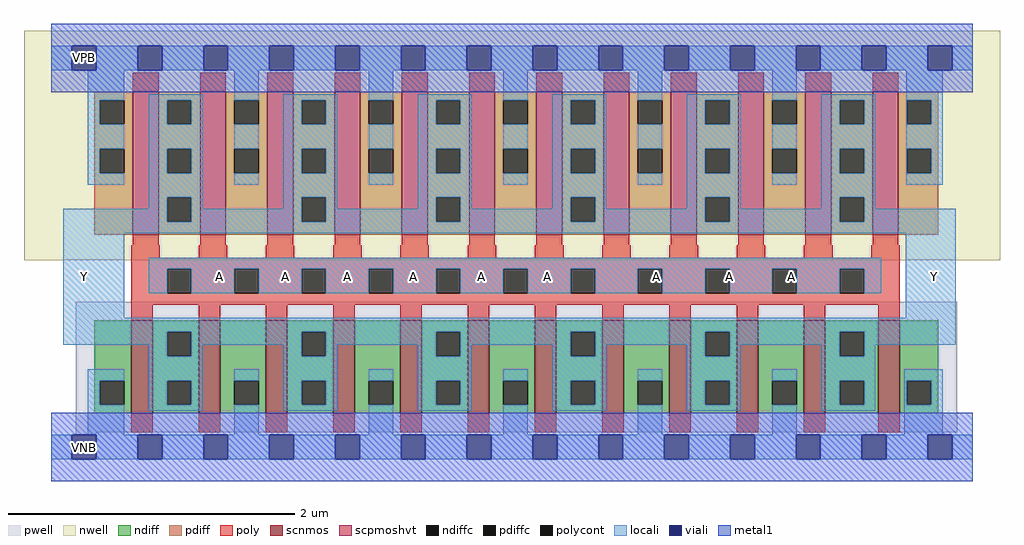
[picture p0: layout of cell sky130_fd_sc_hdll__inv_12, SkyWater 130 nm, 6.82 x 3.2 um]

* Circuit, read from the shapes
.subckt sky130_fd_sc_hdll__inv_12 A VGND VNB VPB VPWR Y
XM1 Y A VGND VNB sky130_fd_pr__nfet_01v8 w=0.65 l=0.15 m=12
XM2 Y A VPWR VPB sky130_fd_pr__pfet_01v8_hvt w=1 l=0.18 m=12
.ends

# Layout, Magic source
magic
tech sky130A
magscale 1 2
<< nwell >>
rect -38 261 1326 582
<< pwell >>
rect 34 21 1266 203
rect 34 17 63 21
rect 29 -17 63 17
<< scnmos >>
rect 112 47 142 177
rect 206 47 236 177
rect 300 47 330 177
rect 394 47 424 177
rect 488 47 518 177
rect 582 47 612 177
rect 676 47 706 177
rect 770 47 800 177
rect 864 47 894 177
rect 958 47 988 177
rect 1052 47 1082 177
rect 1156 47 1186 177
<< scpmoshvt >>
rect 114 297 150 497
rect 208 297 244 497
rect 302 297 338 497
rect 396 297 432 497
rect 490 297 526 497
rect 584 297 620 497
rect 678 297 714 497
rect 772 297 808 497
rect 866 297 902 497
rect 960 297 996 497
rect 1054 297 1090 497
rect 1148 297 1184 497
<< ndiff >>
rect 60 93 112 177
rect 60 59 68 93
rect 102 59 112 93
rect 60 47 112 59
rect 142 161 206 177
rect 142 127 162 161
rect 196 127 206 161
rect 142 93 206 127
rect 142 59 162 93
rect 196 59 206 93
rect 142 47 206 59
rect 236 93 300 177
rect 236 59 256 93
rect 290 59 300 93
rect 236 47 300 59
rect 330 161 394 177
rect 330 127 350 161
rect 384 127 394 161
rect 330 93 394 127
rect 330 59 350 93
rect 384 59 394 93
rect 330 47 394 59
rect 424 93 488 177
rect 424 59 444 93
rect 478 59 488 93
rect 424 47 488 59
rect 518 161 582 177
rect 518 127 538 161
rect 572 127 582 161
rect 518 93 582 127
rect 518 59 538 93
rect 572 59 582 93
rect 518 47 582 59
rect 612 93 676 177
rect 612 59 632 93
rect 666 59 676 93
rect 612 47 676 59
rect 706 161 770 177
rect 706 127 726 161
rect 760 127 770 161
rect 706 93 770 127
rect 706 59 726 93
rect 760 59 770 93
rect 706 47 770 59
rect 800 93 864 177
rect 800 59 820 93
rect 854 59 864 93
rect 800 47 864 59
rect 894 161 958 177
rect 894 127 914 161
rect 948 127 958 161
rect 894 93 958 127
rect 894 59 914 93
rect 948 59 958 93
rect 894 47 958 59
rect 988 93 1052 177
rect 988 59 1008 93
rect 1042 59 1052 93
rect 988 47 1052 59
rect 1082 161 1156 177
rect 1082 127 1102 161
rect 1136 127 1156 161
rect 1082 93 1156 127
rect 1082 59 1102 93
rect 1136 59 1156 93
rect 1082 47 1156 59
rect 1186 93 1240 177
rect 1186 59 1196 93
rect 1230 59 1240 93
rect 1186 47 1240 59
<< pdiff >>
rect 60 485 114 497
rect 60 451 68 485
rect 102 451 114 485
rect 60 417 114 451
rect 60 383 68 417
rect 102 383 114 417
rect 60 297 114 383
rect 150 485 208 497
rect 150 451 162 485
rect 196 451 208 485
rect 150 417 208 451
rect 150 383 162 417
rect 196 383 208 417
rect 150 349 208 383
rect 150 315 162 349
rect 196 315 208 349
rect 150 297 208 315
rect 244 485 302 497
rect 244 451 256 485
rect 290 451 302 485
rect 244 417 302 451
rect 244 383 256 417
rect 290 383 302 417
rect 244 297 302 383
rect 338 485 396 497
rect 338 451 350 485
rect 384 451 396 485
rect 338 417 396 451
rect 338 383 350 417
rect 384 383 396 417
rect 338 349 396 383
rect 338 315 350 349
rect 384 315 396 349
rect 338 297 396 315
rect 432 485 490 497
rect 432 451 444 485
rect 478 451 490 485
rect 432 417 490 451
rect 432 383 444 417
rect 478 383 490 417
rect 432 297 490 383
rect 526 485 584 497
rect 526 451 538 485
rect 572 451 584 485
rect 526 417 584 451
rect 526 383 538 417
rect 572 383 584 417
rect 526 349 584 383
rect 526 315 538 349
rect 572 315 584 349
rect 526 297 584 315
rect 620 485 678 497
rect 620 451 632 485
rect 666 451 678 485
rect 620 417 678 451
rect 620 383 632 417
rect 666 383 678 417
rect 620 297 678 383
rect 714 485 772 497
rect 714 451 726 485
rect 760 451 772 485
rect 714 417 772 451
rect 714 383 726 417
rect 760 383 772 417
rect 714 349 772 383
rect 714 315 726 349
rect 760 315 772 349
rect 714 297 772 315
rect 808 485 866 497
rect 808 451 820 485
rect 854 451 866 485
rect 808 417 866 451
rect 808 383 820 417
rect 854 383 866 417
rect 808 297 866 383
rect 902 485 960 497
rect 902 451 914 485
rect 948 451 960 485
rect 902 417 960 451
rect 902 383 914 417
rect 948 383 960 417
rect 902 349 960 383
rect 902 315 914 349
rect 948 315 960 349
rect 902 297 960 315
rect 996 485 1054 497
rect 996 451 1008 485
rect 1042 451 1054 485
rect 996 417 1054 451
rect 996 383 1008 417
rect 1042 383 1054 417
rect 996 297 1054 383
rect 1090 485 1148 497
rect 1090 451 1102 485
rect 1136 451 1148 485
rect 1090 417 1148 451
rect 1090 383 1102 417
rect 1136 383 1148 417
rect 1090 349 1148 383
rect 1090 315 1102 349
rect 1136 315 1148 349
rect 1090 297 1148 315
rect 1184 485 1240 497
rect 1184 451 1196 485
rect 1230 451 1240 485
rect 1184 417 1240 451
rect 1184 383 1196 417
rect 1230 383 1240 417
rect 1184 297 1240 383
<< ndiffc >>
rect 68 59 102 93
rect 162 127 196 161
rect 162 59 196 93
rect 256 59 290 93
rect 350 127 384 161
rect 350 59 384 93
rect 444 59 478 93
rect 538 127 572 161
rect 538 59 572 93
rect 632 59 666 93
rect 726 127 760 161
rect 726 59 760 93
rect 820 59 854 93
rect 914 127 948 161
rect 914 59 948 93
rect 1008 59 1042 93
rect 1102 127 1136 161
rect 1102 59 1136 93
rect 1196 59 1230 93
<< pdiffc >>
rect 68 451 102 485
rect 68 383 102 417
rect 162 451 196 485
rect 162 383 196 417
rect 162 315 196 349
rect 256 451 290 485
rect 256 383 290 417
rect 350 451 384 485
rect 350 383 384 417
rect 350 315 384 349
rect 444 451 478 485
rect 444 383 478 417
rect 538 451 572 485
rect 538 383 572 417
rect 538 315 572 349
rect 632 451 666 485
rect 632 383 666 417
rect 726 451 760 485
rect 726 383 760 417
rect 726 315 760 349
rect 820 451 854 485
rect 820 383 854 417
rect 914 451 948 485
rect 914 383 948 417
rect 914 315 948 349
rect 1008 451 1042 485
rect 1008 383 1042 417
rect 1102 451 1136 485
rect 1102 383 1136 417
rect 1102 315 1136 349
rect 1196 451 1230 485
rect 1196 383 1230 417
<< poly >>
rect 114 497 150 523
rect 208 497 244 523
rect 302 497 338 523
rect 396 497 432 523
rect 490 497 526 523
rect 584 497 620 523
rect 678 497 714 523
rect 772 497 808 523
rect 866 497 902 523
rect 960 497 996 523
rect 1054 497 1090 523
rect 1148 497 1184 523
rect 114 282 150 297
rect 208 282 244 297
rect 302 282 338 297
rect 396 282 432 297
rect 490 282 526 297
rect 584 282 620 297
rect 678 282 714 297
rect 772 282 808 297
rect 866 282 902 297
rect 960 282 996 297
rect 1054 282 1090 297
rect 1148 282 1184 297
rect 112 265 152 282
rect 206 265 246 282
rect 300 265 340 282
rect 394 265 434 282
rect 488 265 528 282
rect 582 265 622 282
rect 676 265 716 282
rect 770 265 810 282
rect 864 265 904 282
rect 958 265 998 282
rect 1052 265 1092 282
rect 1146 265 1186 282
rect 112 249 1186 265
rect 112 215 162 249
rect 196 215 256 249
rect 290 215 350 249
rect 384 215 444 249
rect 478 215 538 249
rect 572 215 632 249
rect 666 215 726 249
rect 760 215 820 249
rect 854 215 914 249
rect 948 215 1008 249
rect 1042 215 1102 249
rect 1136 215 1186 249
rect 112 199 1186 215
rect 112 177 142 199
rect 206 177 236 199
rect 300 177 330 199
rect 394 177 424 199
rect 488 177 518 199
rect 582 177 612 199
rect 676 177 706 199
rect 770 177 800 199
rect 864 177 894 199
rect 958 177 988 199
rect 1052 177 1082 199
rect 1156 177 1186 199
rect 112 21 142 47
rect 206 21 236 47
rect 300 21 330 47
rect 394 21 424 47
rect 488 21 518 47
rect 582 21 612 47
rect 676 21 706 47
rect 770 21 800 47
rect 864 21 894 47
rect 958 21 988 47
rect 1052 21 1082 47
rect 1156 21 1186 47
<< polycont >>
rect 162 215 196 249
rect 256 215 290 249
rect 350 215 384 249
rect 444 215 478 249
rect 538 215 572 249
rect 632 215 666 249
rect 726 215 760 249
rect 820 215 854 249
rect 914 215 948 249
rect 1008 215 1042 249
rect 1102 215 1136 249
<< locali >>
rect 0 527 29 561
rect 63 527 121 561
rect 155 527 213 561
rect 247 527 305 561
rect 339 527 397 561
rect 431 527 489 561
rect 523 527 581 561
rect 615 527 673 561
rect 707 527 765 561
rect 799 527 857 561
rect 891 527 949 561
rect 983 527 1041 561
rect 1075 527 1133 561
rect 1167 527 1225 561
rect 1259 527 1288 561
rect 51 485 102 527
rect 51 451 68 485
rect 51 417 102 451
rect 51 383 68 417
rect 51 367 102 383
rect 136 485 212 493
rect 136 451 162 485
rect 196 451 212 485
rect 136 417 212 451
rect 136 383 162 417
rect 196 383 212 417
rect 136 349 212 383
rect 256 485 290 527
rect 256 417 290 451
rect 256 367 290 383
rect 324 485 400 493
rect 324 451 350 485
rect 384 451 400 485
rect 324 417 400 451
rect 324 383 350 417
rect 384 383 400 417
rect 136 333 162 349
rect 17 315 162 333
rect 196 333 212 349
rect 324 349 400 383
rect 444 485 478 527
rect 444 417 478 451
rect 444 367 478 383
rect 512 485 588 493
rect 512 451 538 485
rect 572 451 588 485
rect 512 417 588 451
rect 512 383 538 417
rect 572 383 588 417
rect 324 333 350 349
rect 196 315 350 333
rect 384 333 400 349
rect 512 349 588 383
rect 632 485 666 527
rect 632 417 666 451
rect 632 367 666 383
rect 700 485 776 493
rect 700 451 726 485
rect 760 451 776 485
rect 700 417 776 451
rect 700 383 726 417
rect 760 383 776 417
rect 512 333 538 349
rect 384 315 538 333
rect 572 333 588 349
rect 700 349 776 383
rect 820 485 854 527
rect 820 417 854 451
rect 820 367 854 383
rect 888 485 964 493
rect 888 451 914 485
rect 948 451 964 485
rect 888 417 964 451
rect 888 383 914 417
rect 948 383 964 417
rect 700 333 726 349
rect 572 315 726 333
rect 760 333 776 349
rect 888 349 964 383
rect 1008 485 1042 527
rect 1008 417 1042 451
rect 1008 367 1042 383
rect 1076 485 1152 493
rect 1076 451 1102 485
rect 1136 451 1152 485
rect 1076 417 1152 451
rect 1076 383 1102 417
rect 1136 383 1152 417
rect 888 333 914 349
rect 760 315 914 333
rect 948 333 964 349
rect 1076 349 1152 383
rect 1195 485 1246 527
rect 1195 451 1196 485
rect 1230 451 1246 485
rect 1195 417 1246 451
rect 1195 383 1196 417
rect 1230 383 1246 417
rect 1195 367 1246 383
rect 1076 333 1102 349
rect 948 315 1102 333
rect 1136 333 1152 349
rect 1136 315 1264 333
rect 17 299 1264 315
rect 17 181 102 299
rect 136 249 1160 265
rect 136 215 162 249
rect 196 215 256 249
rect 290 215 350 249
rect 384 215 444 249
rect 478 215 538 249
rect 572 215 632 249
rect 666 215 726 249
rect 760 215 820 249
rect 854 215 914 249
rect 948 215 1008 249
rect 1042 215 1102 249
rect 1136 215 1160 249
rect 1194 181 1264 299
rect 17 161 1264 181
rect 17 143 162 161
rect 136 127 162 143
rect 196 143 350 161
rect 196 127 212 143
rect 51 93 102 109
rect 51 59 68 93
rect 51 17 102 59
rect 136 93 212 127
rect 324 127 350 143
rect 384 143 538 161
rect 384 127 400 143
rect 136 59 162 93
rect 196 59 212 93
rect 136 51 212 59
rect 256 93 290 109
rect 256 17 290 59
rect 324 93 400 127
rect 512 127 538 143
rect 572 143 726 161
rect 572 127 588 143
rect 324 59 350 93
rect 384 59 400 93
rect 324 51 400 59
rect 444 93 478 109
rect 444 17 478 59
rect 512 93 588 127
rect 700 127 726 143
rect 760 143 914 161
rect 760 127 776 143
rect 512 59 538 93
rect 572 59 588 93
rect 512 51 588 59
rect 632 93 666 109
rect 632 17 666 59
rect 700 93 776 127
rect 888 127 914 143
rect 948 143 1102 161
rect 948 127 964 143
rect 700 59 726 93
rect 760 59 776 93
rect 700 51 776 59
rect 820 93 854 109
rect 820 17 854 59
rect 888 93 964 127
rect 1076 127 1102 143
rect 1136 143 1264 161
rect 1136 127 1152 143
rect 888 59 914 93
rect 948 59 964 93
rect 888 51 964 59
rect 1008 93 1042 109
rect 1008 17 1042 59
rect 1076 93 1152 127
rect 1076 59 1102 93
rect 1136 59 1152 93
rect 1076 51 1152 59
rect 1192 93 1246 109
rect 1192 59 1196 93
rect 1230 59 1246 93
rect 1192 17 1246 59
rect 0 -17 29 17
rect 63 -17 121 17
rect 155 -17 213 17
rect 247 -17 305 17
rect 339 -17 397 17
rect 431 -17 489 17
rect 523 -17 581 17
rect 615 -17 673 17
rect 707 -17 765 17
rect 799 -17 857 17
rect 891 -17 949 17
rect 983 -17 1041 17
rect 1075 -17 1133 17
rect 1167 -17 1225 17
rect 1259 -17 1288 17
<< viali >>
rect 29 527 63 561
rect 121 527 155 561
rect 213 527 247 561
rect 305 527 339 561
rect 397 527 431 561
rect 489 527 523 561
rect 581 527 615 561
rect 673 527 707 561
rect 765 527 799 561
rect 857 527 891 561
rect 949 527 983 561
rect 1041 527 1075 561
rect 1133 527 1167 561
rect 1225 527 1259 561
rect 29 -17 63 17
rect 121 -17 155 17
rect 213 -17 247 17
rect 305 -17 339 17
rect 397 -17 431 17
rect 489 -17 523 17
rect 581 -17 615 17
rect 673 -17 707 17
rect 765 -17 799 17
rect 857 -17 891 17
rect 949 -17 983 17
rect 1041 -17 1075 17
rect 1133 -17 1167 17
rect 1225 -17 1259 17
<< metal1 >>
rect 0 561 1288 592
rect 0 527 29 561
rect 63 527 121 561
rect 155 527 213 561
rect 247 527 305 561
rect 339 527 397 561
rect 431 527 489 561
rect 523 527 581 561
rect 615 527 673 561
rect 707 527 765 561
rect 799 527 857 561
rect 891 527 949 561
rect 983 527 1041 561
rect 1075 527 1133 561
rect 1167 527 1225 561
rect 1259 527 1288 561
rect 0 496 1288 527
rect 0 17 1288 48
rect 0 -17 29 17
rect 63 -17 121 17
rect 155 -17 213 17
rect 247 -17 305 17
rect 339 -17 397 17
rect 431 -17 489 17
rect 523 -17 581 17
rect 615 -17 673 17
rect 707 -17 765 17
rect 799 -17 857 17
rect 891 -17 949 17
rect 983 -17 1041 17
rect 1075 -17 1133 17
rect 1167 -17 1225 17
rect 1259 -17 1288 17
rect 0 -48 1288 -17
<< labels >>
flabel locali s 213 221 257 255 0 FreeSans 250 0 0 0 A
port 1 nsew signal input
flabel locali s 305 221 349 255 0 FreeSans 250 0 0 0 A
port 1 nsew signal input
flabel locali s 397 221 431 255 0 FreeSans 250 0 0 0 A
port 1 nsew signal input
flabel locali s 490 221 524 255 0 FreeSans 250 0 0 0 A
port 1 nsew signal input
flabel locali s 584 221 618 255 0 FreeSans 250 0 0 0 A
port 1 nsew signal input
flabel locali s 676 221 710 255 0 FreeSans 250 0 0 0 A
port 1 nsew signal input
flabel locali s 1218 221 1252 255 0 FreeSans 250 0 0 0 Y
port 6 nsew signal output
flabel locali s 29 221 63 255 0 FreeSans 250 0 0 0 Y
port 6 nsew signal output
flabel locali s 829 221 863 255 0 FreeSans 250 0 0 0 A
port 1 nsew signal input
flabel locali s 931 221 965 255 0 FreeSans 250 0 0 0 A
port 1 nsew signal input
flabel locali s 1017 221 1051 255 0 FreeSans 250 0 0 0 A
port 1 nsew signal input
flabel pwell s 29 -17 63 17 0 FreeSans 200 0 0 0 VNB
port 3 nsew ground bidirectional
flabel nwell s 29 527 63 561 0 FreeSans 200 0 0 0 VPB
port 4 nsew power bidirectional
flabel metal1 s 29 -17 63 17 0 FreeSans 200 0 0 0 VGND
port 2 nsew ground bidirectional
flabel metal1 s 29 527 63 561 0 FreeSans 200 0 0 0 VPWR
port 5 nsew power bidirectional
<< properties >>
string LEFsite unithd
string LEFclass CORE
string FIXED_BBOX 0 0 1288 544
string GDS_FILE $PDKPATH/libs.ref/sky130_fd_sc_hdll/gds/sky130_fd_sc_hdll.gds
string LEFsymmetry X Y R90
string GDS_END 2107388
string GDS_START 2096734
string LEFproperties maskLayoutSubType "abstract" prCellType "standard" originalViewName "layout"
<< end >>
